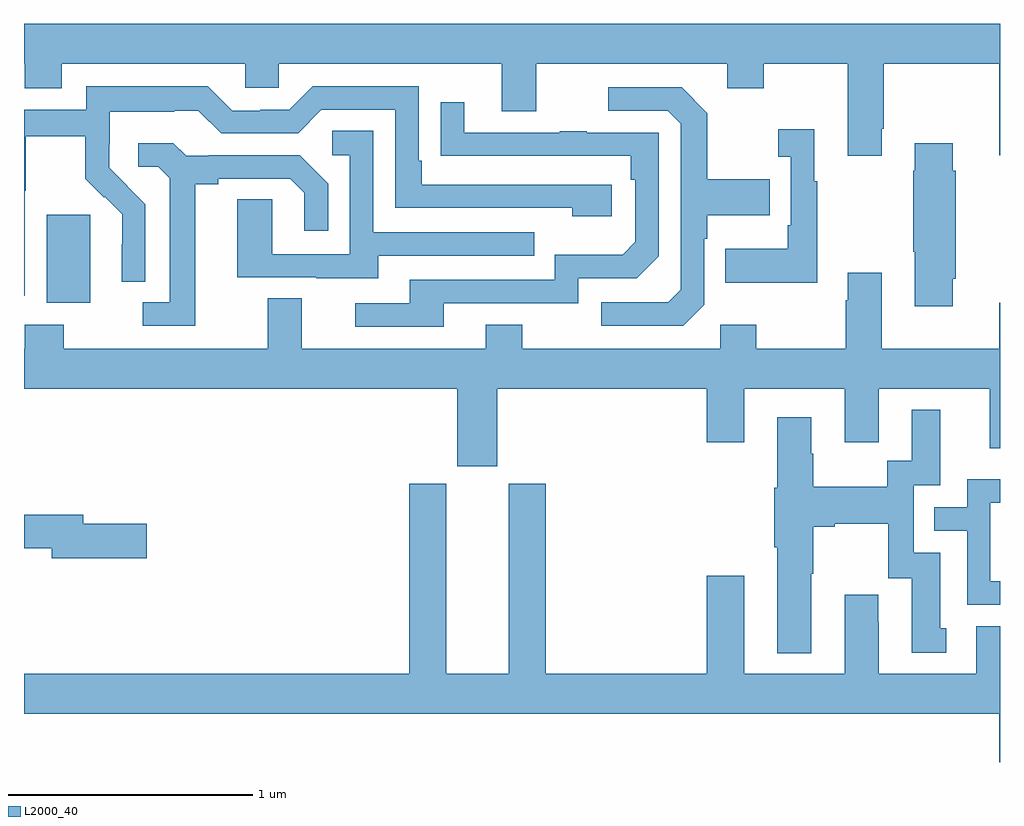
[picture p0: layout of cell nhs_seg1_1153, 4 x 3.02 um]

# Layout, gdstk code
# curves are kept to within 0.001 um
import gdstk
lib = gdstk.Library(unit=1e-6, precision=1e-09)
def R(c, l, rs):  # rectangles x0, y0, x1, y1
    for r in rs: c.add(gdstk.rectangle(r[:2], r[2:], *l))
def P(c, l, *ps):  # polygons
    for p in ps: c.add(gdstk.Polygon(p, *l))
L2000_40 = (2000, 40)

nhs_seg1_1153 = lib.new_cell('nhs_seg1_1153')
R(nhs_seg1_1153, L2000_40, [(173.093,556.082,173.272,556.443)])
P(nhs_seg1_1153, L2000_40, [(173,557.06),(173.003,557.06),(173.003,556.961),(173.155,556.961),(173.155,557.06),(173.907,557.06),(173.907,556.962),(174.045,556.962),(174.045,557.06),(174.959,557.06),(174.959,556.866),(175.099,556.866),(175.099,557.06),(175.883,557.06),(175.883,556.961),(176.031,556.961),(176.031,557.06),(176.375,557.06),(176.375,556.683),(176.515,556.683),(176.515,556.795),(176.523,556.795),(176.523,557.06),(176.996,557.06),(176.996,556.686),(177,556.686),(177,557.224),(173,557.224)],
  [(173.004,556.54),(173.007,556.54),(173.007,556.764),(173.251,556.764),(173.251,556.589),(173.328,556.512),(173.331,556.515),(173.402,556.445),(173.402,556.322),(173.4,556.322),(173.4,556.168),(173.496,556.168),(173.496,556.486),(173.35,556.634),(173.35,556.731),(173.352,556.731),(173.352,556.865),(173.615,556.865),(173.615,556.869),(173.715,556.869),(173.808,556.776),(174.123,556.776),(174.219,556.872),(174.522,556.872),(174.522,556.47),(175.247,556.47),(175.247,556.436),(175.408,556.436),(175.408,556.566),(174.631,556.566),(174.631,556.663),(174.618,556.663),(174.618,556.968),(174.183,556.968),(174.087,556.872),(173.969,556.872),(173.969,556.869),(173.853,556.869),(173.753,556.969),(173.256,556.969),(173.256,556.872),(173,556.872),(173,556.111),(173.004,556.111)],
  [(175.788,556.074),(175.788,556.343),(175.801,556.343),(175.801,556.439),(176.057,556.439),(176.057,556.587),(175.801,556.587),(175.801,556.859),(175.695,556.965),(175.395,556.965),(175.395,556.869),(175.638,556.869),(175.692,556.815),(175.692,556.134),(175.641,556.083),(175.365,556.083),(175.365,555.987),(175.701,555.987)],
  [(174.721,556.08),(175.272,556.08),(175.272,556.182),(175.512,556.182),(175.602,556.272),(175.602,556.779),(175.307,556.779),(175.307,556.784),(175.195,556.784),(175.195,556.779),(174.805,556.779),(174.805,556.903),(174.709,556.903),(174.709,556.684),(175.486,556.683),(175.486,556.586),(175.506,556.586),(175.506,556.332),(175.453,556.279),(175.176,556.279),(175.176,556.176),(174.581,556.176),(174.581,556.08),(174.357,556.08),(174.357,555.984),(174.721,555.984)],
  [(176.251,556.579),(176.239,556.579),(176.239,556.792),(176.091,556.792),(176.091,556.679),(176.142,556.679),(176.142,556.399),(176.13,556.399),(176.13,556.303),(175.873,556.303),(175.873,556.163),(176.251,556.163)],
  [(174.451,556.275),(175.091,556.275),(175.091,556.371),(174.432,556.371),(174.432,556.787),(174.264,556.787),(174.264,556.686),(174.336,556.686),(174.336,556.281),(174.018,556.281),(174.018,556.505),(173.873,556.505),(173.873,556.185),(174.197,556.185),(174.197,556.181),(174.451,556.181)],
  [(173.701,556.568),(173.797,556.568),(173.797,556.59),(174.092,556.59),(174.149,556.533),(174.149,556.377),(174.246,556.377),(174.246,556.57),(174.13,556.686),(173.758,556.686),(173.758,556.683),(173.664,556.683),(173.612,556.735),(173.469,556.735),(173.469,556.638),(173.55,556.638),(173.597,556.591),(173.597,556.083),(173.487,556.083),(173.487,555.987),(173.701,555.987)],
  [(176.806,556.18),(176.819,556.18),(176.819,556.622),(176.806,556.622),(176.806,556.735),(176.651,556.735),(176.651,556.622),(176.644,556.622),(176.644,556.291),(176.651,556.291),(176.651,556.068),(176.806,556.068)],
  [(174.94,555.728),(175.799,555.728),(175.799,555.51),(175.951,555.51),(175.951,555.728),(176.363,555.728),(176.363,555.51),(176.503,555.51),(176.503,555.728),(176.957,555.728),(176.957,555.486),(177,555.486),(177,556.081),(176.996,556.081),(176.996,555.892),(176.515,555.892),(176.515,556.204),(176.375,556.204),(176.375,556.091),(176.368,556.091),(176.368,555.892),(176.001,555.892),(176.001,555.991),(175.854,555.991),(175.854,555.892),(175.041,555.892),(175.041,555.991),(174.893,555.991),(174.893,555.892),(174.139,555.892),(174.139,556.1),(173.999,556.1),(173.999,555.892),(173.163,555.892),(173.163,555.991),(173.003,555.991),(173.003,555.892),(173,555.892),(173,555.728),(174.776,555.728),(174.776,555.411),(174.94,555.411)],
  [(176.227,554.971),(176.235,554.971),(176.235,555.164),(176.323,555.164),(176.323,555.176),(176.543,555.176),(176.543,554.952),(176.639,554.952),(176.639,554.646),(176.779,554.646),(176.779,554.748),(176.755,554.748),(176.755,555.057),(176.646,555.057),(176.646,555.333),(176.755,555.333),(176.755,555.643),(176.639,555.643),(176.639,555.434),(176.538,555.434),(176.538,555.328),(176.235,555.328),(176.235,555.462),(176.227,555.462),(176.227,555.613),(176.087,555.613),(176.087,555.324),(176.075,555.324),(176.075,555.08),(176.087,555.08),(176.087,554.645),(176.227,554.645)],
  [(177,554.94),(176.961,554.94),(176.961,555.261),(177,555.261),(177,555.357),(176.865,555.357),(176.865,555.243),(176.731,555.243),(176.731,555.147),(176.865,555.147),(176.865,554.844),(177,554.844)],
  [(174.986,555.339),(174.986,554.56),(174.73,554.56),(174.73,555.339),(174.578,555.339),(174.578,554.56),(173,554.56),(173,554.396),(176.996,554.396),(176.996,554.199),(177,554.199),(177,554.755),(176.903,554.755),(176.903,554.56),(176.503,554.56),(176.503,554.771),(176.5,554.771),(176.5,554.884),(176.363,554.884),(176.363,554.56),(175.951,554.56),(175.951,554.962),(175.799,554.962),(175.799,554.56),(175.139,554.56),(175.139,555.339)],
  [(173.503,555.176),(173.242,555.176),(173.242,555.212),(173,555.212),(173,555.076),(173.114,555.076),(173.114,555.034),(173.503,555.034)])

lib.write_gds('nhs_seg1_1153.gds')
